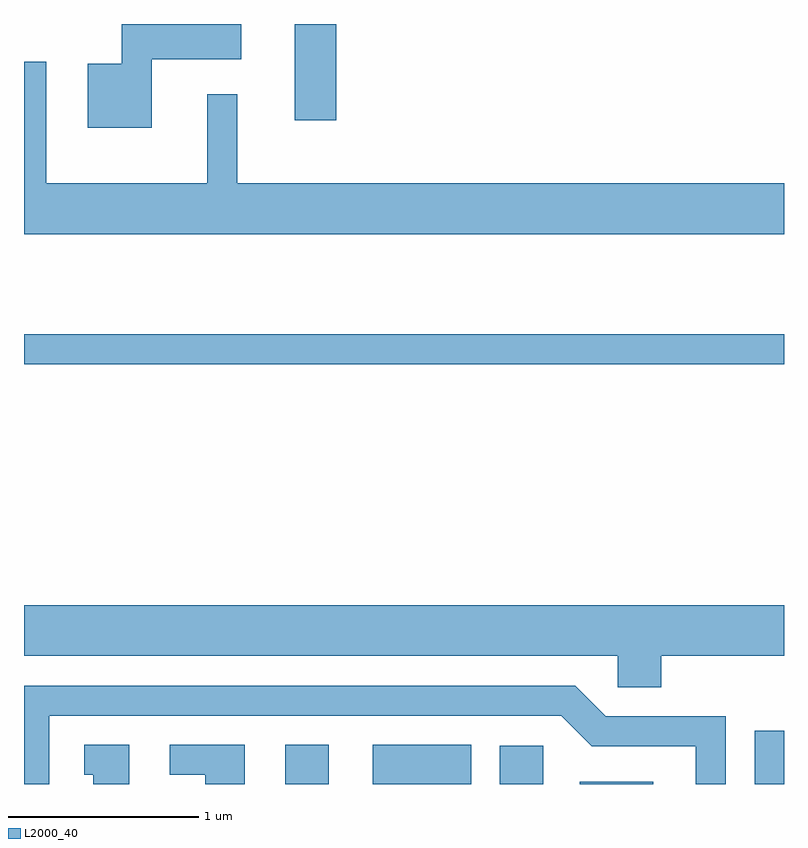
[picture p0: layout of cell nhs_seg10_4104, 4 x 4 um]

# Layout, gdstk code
import gdstk
lib = gdstk.Library(unit=1e-6, precision=1e-09)
def R(c, l, rs):  # rectangles x0, y0, x1, y1
    for r in rs: c.add(gdstk.rectangle(r[:2], r[2:], *l))
def P(c, l, *ps):  # polygons
    for p in ps: c.add(gdstk.Polygon(p, *l))
L2000_40 = (2000, 40)

nhs_seg10_4104 = lib.new_cell('nhs_seg10_4104')
R(nhs_seg10_4104, L2000_40, [(306.986,2166.522,307.214,2166.729), (307.446,2166.522,307.964,2166.729), (308.116,2166.522,308.344,2166.724), (308.536,2166.522,308.924,2166.534), (309.456,2166.522,309.611,2166.803), (305.611,2168.731,309.611,2168.889), (307.036,2170.016,307.254,2170.522)])
P(nhs_seg10_4104, L2000_40, [(306.284,2170.336),(306.754,2170.336),(306.754,2170.522),(306.126,2170.522),(306.126,2170.314),(305.946,2170.314),(305.946,2169.976),(306.284,2169.976)],
  [(309.611,2169.684),(306.734,2169.684),(306.734,2170.153),(306.576,2170.153),(306.576,2169.684),(305.729,2169.684),(305.729,2170.323),(305.611,2170.323),(305.611,2169.416),(309.611,2169.416)],
  [(308.964,2167.196),(309.611,2167.196),(309.611,2167.464),(305.611,2167.464),(305.611,2167.196),(308.736,2167.196),(308.736,2167.031),(308.964,2167.031)],
  [(305.744,2166.881),(308.439,2166.881),(308.599,2166.721),(309.146,2166.721),(309.146,2166.522),(309.304,2166.522),(309.304,2166.879),(308.672,2166.879),(308.512,2167.039),(305.611,2167.039),(305.611,2166.522),(305.744,2166.522)],
  [(306.164,2166.729),(305.928,2166.729),(305.928,2166.571),(305.976,2166.571),(305.976,2166.522),(306.164,2166.522)],
  [(306.774,2166.729),(306.378,2166.729),(306.378,2166.571),(306.566,2166.571),(306.566,2166.522),(306.774,2166.522)])

lib.write_gds('nhs_seg10_4104.gds')
